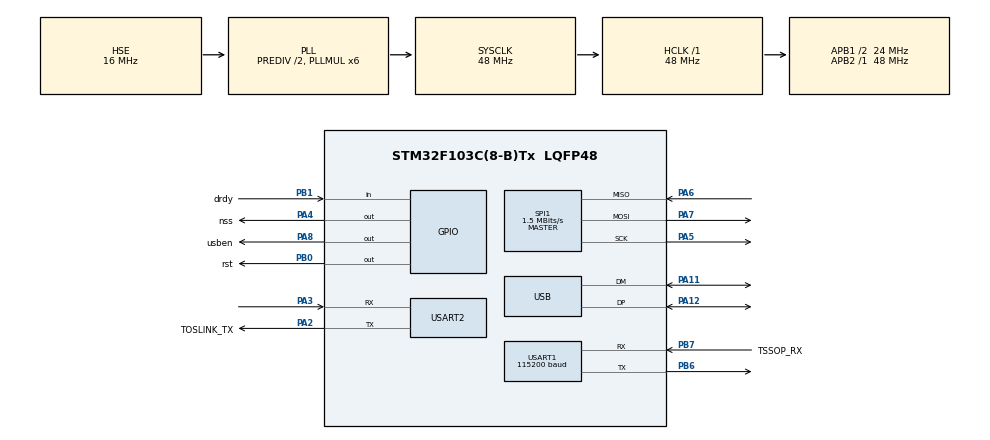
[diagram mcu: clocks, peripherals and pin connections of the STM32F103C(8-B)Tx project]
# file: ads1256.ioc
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Mcu.Family=STM32F1
Mcu.Name=STM32F103C(8-B)Tx
Mcu.Package=LQFP48
NVIC.PriorityGroup=NVIC_PRIORITYGROUP_4
NVIC.USART1_IRQn=true\:0\:0\:false\:false\:true
NVIC.USB_LP_CAN1_RX0_IRQn=true\:0\:0\:false\:false\:true
PA11.Mode=Device
PA11.Signal=USB_DM
PA12.Mode=Device
PA12.Signal=USB_DP
PA2.GPIO_Label=TOSLINK_TX
PA2.Mode=IrDA
PA2.Signal=USART2_TX
PA3.Mode=IrDA
PA3.Signal=USART2_RX
PA4.GPIO_Label=nss
PA4.Signal=GPIO_Output
PA5.Mode=Full_Duplex_Master
PA5.Signal=SPI1_SCK
PA6.Mode=Full_Duplex_Master
PA6.Signal=SPI1_MISO
PA7.Mode=Full_Duplex_Master
PA7.Signal=SPI1_MOSI
PA8.GPIO_Label=usben
PA8.Signal=GPIO_Output
PB0.GPIO_Label=rst
PB0.Signal=GPIO_Output
PB1.GPIO_Label=drdy
PB1.GPIO_PuPd=GPIO_PULLUP
PB1.Signal=GPIO_Input
PB6.Mode=Asynchronous
PB6.Signal=USART1_TX
PB7.GPIO_Label=TSSOP_RX
PB7.Mode=Asynchronous
PB7.Signal=USART1_RX
PD0-OSC_IN.Mode=HSE-External-Oscillator
PD0-OSC_IN.Signal=RCC_OSC_IN
PD1-OSC_OUT.Mode=HSE-External-Oscillator
PD1-OSC_OUT.Signal=RCC_OSC_OUT
ProjectManager.HeapSize=0x200
ProjectManager.StackSize=0x400
ProjectManager.TargetToolchain=MDK-ARM V5
RCC.AHBFreq_Value=48000000
RCC.APB1CLKDivider=RCC_HCLK_DIV2
RCC.APB1Freq_Value=24000000
RCC.APB1TimFreq_Value=48000000
RCC.APB2Freq_Value=48000000
RCC.APB2TimFreq_Value=48000000
RCC.HCLKFreq_Value=48000000
RCC.HSEDivPLL=RCC_HSE_PREDIV_DIV2
RCC.HSE_VALUE=16000000
RCC.HSIState=RCC_HSI_ON
RCC.PLLMUL=RCC_PLL_MUL6
RCC.PLLSourceVirtual=RCC_PLLSOURCE_HSE
RCC.SYSCLKFreq_VALUE=48000000
RCC.SYSCLKSource=RCC_SYSCLKSOURCE_PLLCLK
RCC.USBFreq_Value=48000000
SPI1.BaudRatePrescaler=SPI_BAUDRATEPRESCALER_32
SPI1.CLKPhase=SPI_PHASE_2EDGE
SPI1.CalculateBaudRate=1.5 MBits/s
SPI1.Mode=SPI_MODE_MASTER
USART1.BaudRate=115200
USART1.Mode=UART_MODE_RX
USART2.VirtualMode=VM_IRDA
USB_DEVICE.CLASS_NAME_FS=CDC
USB_DEVICE.USBD_HandleTypeDef=hUsbDeviceFS
USB_DEVICE.VirtualMode=Cdc
USB_DEVICE.VirtualModeFS=Cdc_FS
VP_USB_DEVICE_VS_USB_DEVICE_CDC_FS.Mode=CDC_FS
board=ads1256

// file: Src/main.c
/**
  ******************************************************************************
  * File Name          : main.c
  * Description        : Main program body
  ******************************************************************************
  *
  * COPYRIGHT(c) 2017 STMicroelectronics
  *
  * Redistribution and use in source and binary forms, with or without modification,
  * are permitted provided that the following conditions are met:
  *   1. Redistributions of source code must retain the above copyright notice,
  *      this list of conditions and the following disclaimer.
  *   2. Redistributions in binary form must reproduce the above copyright notice,
  *      this list of conditions and the following disclaimer in the documentation
  *      and/or other materials provided with the distribution.
  *   3. Neither the name of STMicroelectronics nor the names of its contributors
  *      may be used to endorse or promote products derived from this software
  *      without specific prior written permission.
  *
  * THIS SOFTWARE IS PROVIDED BY THE COPYRIGHT HOLDERS AND CONTRIBUTORS "AS IS"
  * AND ANY EXPRESS OR IMPLIED WARRANTIES, INCLUDING, BUT NOT LIMITED TO, THE
  * IMPLIED WARRANTIES OF MERCHANTABILITY AND FITNESS FOR A PARTICULAR PURPOSE ARE
  * DISCLAIMED. IN NO EVENT SHALL THE COPYRIGHT HOLDER OR CONTRIBUTORS BE LIABLE
  * FOR ANY DIRECT, INDIRECT, INCIDENTAL, SPECIAL, EXEMPLARY, OR CONSEQUENTIAL
  * DAMAGES (INCLUDING, BUT NOT LIMITED TO, PROCUREMENT OF SUBSTITUTE GOODS OR
  * SERVICES; LOSS OF USE, DATA, OR PROFITS; OR BUSINESS INTERRUPTION) HOWEVER
  * CAUSED AND ON ANY THEORY OF LIABILITY, WHETHER IN CONTRACT, STRICT LIABILITY,
  * OR TORT (INCLUDING NEGLIGENCE OR OTHERWISE) ARISING IN ANY WAY OUT OF THE USE
  * OF THIS SOFTWARE, EVEN IF ADVISED OF THE POSSIBILITY OF SUCH DAMAGE.
  *
  ******************************************************************************
  */
#include "stm32f1xx.h"
#include "usb_device.h"

/* USER CODE BEGIN Includes */
#include "usbd_cdc_if.h"
#include "ads1256.h"
#include "toslink.h"
#include "tssop.h"

/* USER CODE END Includes */

SPI_HandleTypeDef hspi1;

UART_HandleTypeDef huart1;
IRDA_HandleTypeDef hirda2;

/* USER CODE BEGIN PV */
/* Private variables ---------------------------------------------------------*/

/* USER CODE END PV */

void SystemClock_Config(void);
static void MX_GPIO_Init(void);
static void MX_SPI1_Init(void);
static void MX_USART1_UART_Init(void);
static void MX_USART2_IRDA_Init(void);

/* USER CODE BEGIN PFP */
/* Private function prototypes -----------------------------------------------*/

/* USER CODE END PFP */

/* USER CODE BEGIN 0 */

void HAL_UART_RxCpltCallback(UART_HandleTypeDef *huart)
{
if(huart->Instance == USART1){

}
}

		char buf[255];

		uint32_t Coder(uint32_t adc_val, uint8_t MARK){

			MARK &= 0xF7;
				volatile uint8_t HB = (adc_val&0x00FF0000)>>16;
				volatile uint8_t MB = (adc_val&0x0000FF00)>>8;
				volatile uint8_t LB = (adc_val&0x000000FF);

				volatile uint8_t HBs = HB&0x80;
				volatile uint8_t MBs= MB&0x80;
				volatile uint8_t LBs= LB&0x80;

				if(HBs) {MARK|= 0x04;HB = HB&0x7F;}
				if(MBs) {MARK|= 0x02;MB = MB&0x7F;}
				if(LBs) {MARK|= 0x01;LB = LB&0x7F;}
			volatile uint32_t tmp2 = (HB<<24)|(MB<<16)|(LB<<8)|(MARK);
				return tmp2;
		}
/* USER CODE END 0 */

int main(void)
{

  /* MCU Configuration----------------------------------------------------------*/

  /* Reset of all peripherals, Initializes the Flash interface and the Systick. */
  HAL_Init();

  /* Configure the system clock */
  SystemClock_Config();

  /* Initialize all configured peripherals */
  MX_GPIO_Init();
  MX_SPI1_Init();
  MX_USB_DEVICE_Init();
  MX_USART1_UART_Init();
  MX_USART2_IRDA_Init();

  /* USER CODE BEGIN 2 */

	HAL_Delay(100);
  HAL_GPIO_WritePin(usben_GPIO_Port, usben_Pin, GPIO_PIN_RESET);
	MX_USB_DEVICE_Init();
	HAL_Delay(500);

	ads1256_init(&hspi1);
	ads1256_init(&hspi1);

	toslink_init(&hirda2);

		while(drdy_tst() != GPIO_PIN_RESET){};
		//ads1256_wake_up();
		uint8_t reg[11];
		read_regs(0, reg, 11);
		for (int i = 0; i < 11;i++){
				sprintf(buf,"r%02X v%02X\r\n",i,reg[i]);
				//CDC_Transmit_FS((uint8_t*)buf,strlen(buf));
		}

volatile int32_t i = 0;
uint32_t code = 0;
  /* USER CODE END 2 */

  /* Infinite loop */
  while (1)
  {

  /* USER CODE BEGIN 3 */
			if(drdy_tst() == GPIO_PIN_RESET)
		{
		ads1256_wake_up();
		ads1256_cmd(ADS1256_RDATA);
		code =ads1256_read_data();
			i = code;
			uint32_t m = i&0x7FFFFF;
			if(i&0x800000) i = m-0x800000;
			else i = m;
			double u = (5000.0*i/((16777216/2)-1));
		uint32_t tmp = Coder(code, 0x80);

			toslink_transmit(tmp);
			//CDC_Transmit_FS((uint8_t*)&tmp,4);
		//HAL_Delay(100);

		//	sprintf(buf,"%08X %9.3f\r\n",code, u);
		//	CDC_Transmit_FS((uint8_t*)buf,strlen(buf));

		//HAL_Delay(100);
		}
		//HAL_Delay(10);

  }
  /* USER CODE END 3 */

}

/** System Clock Configuration
*/
void SystemClock_Config(void)
{

  RCC_OscInitTypeDef RCC_OscInitStruct;
  RCC_ClkInitTypeDef RCC_ClkInitStruct;
  RCC_PeriphCLKInitTypeDef PeriphClkInit;

  RCC_OscInitStruct.OscillatorType = RCC_OSCILLATORTYPE_HSE;
  RCC_OscInitStruct.HSEState = RCC_HSE_ON;
  RCC_OscInitStruct.HSEPredivValue = RCC_HSE_PREDIV_DIV2;
  RCC_OscInitStruct.PLL.PLLState = RCC_PLL_ON;
  RCC_OscInitStruct.PLL.PLLSource = RCC_PLLSOURCE_HSE;
  RCC_OscInitStruct.PLL.PLLMUL = RCC_PLL_MUL6;
  HAL_RCC_OscConfig(&RCC_OscInitStruct);

  RCC_ClkInitStruct.ClockType = RCC_CLOCKTYPE_HCLK|RCC_CLOCKTYPE_SYSCLK
                              |RCC_CLOCKTYPE_PCLK1|RCC_CLOCKTYPE_PCLK2;
  RCC_ClkInitStruct.SYSCLKSource = RCC_SYSCLKSOURCE_PLLCLK;
  RCC_ClkInitStruct.AHBCLKDivider = RCC_SYSCLK_DIV1;
  RCC_ClkInitStruct.APB1CLKDivider = RCC_HCLK_DIV2;
  RCC_ClkInitStruct.APB2CLKDivider = RCC_HCLK_DIV1;
  HAL_RCC_ClockConfig(&RCC_ClkInitStruct, FLASH_LATENCY_1);

  PeriphClkInit.PeriphClockSelection = RCC_PERIPHCLK_USB;
  PeriphClkInit.UsbClockSelection = RCC_USBCLKSOURCE_PLL;
  HAL_RCCEx_PeriphCLKConfig(&PeriphClkInit);

  HAL_SYSTICK_Config(HAL_RCC_GetHCLKFreq()/1000);

  HAL_SYSTICK_CLKSourceConfig(SYSTICK_CLKSOURCE_HCLK);

  /* SysTick_IRQn interrupt configuration */
  HAL_NVIC_SetPriority(SysTick_IRQn, 0, 0);
}

/* SPI1 init function */
void MX_SPI1_Init(void)
{

  hspi1.Instance = SPI1;
  hspi1.Init.Mode = SPI_MODE_MASTER;
  hspi1.Init.Direction = SPI_DIRECTION_2LINES;
  hspi1.Init.DataSize = SPI_DATASIZE_8BIT;
  hspi1.Init.CLKPolarity = SPI_POLARITY_LOW;
  hspi1.Init.CLKPhase = SPI_PHASE_2EDGE;
  hspi1.Init.NSS = SPI_NSS_SOFT;
  hspi1.Init.BaudRatePrescaler = SPI_BAUDRATEPRESCALER_64;
  hspi1.Init.FirstBit = SPI_FIRSTBIT_MSB;
  hspi1.Init.TIMode = SPI_TIMODE_DISABLE;
  hspi1.Init.CRCCalculation = SPI_CRCCALCULATION_DISABLE;
  hspi1.Init.CRCPolynomial = 10;
  HAL_SPI_Init(&hspi1);

}

/* USART1 init function */
void MX_USART1_UART_Init(void)
{

  huart1.Instance = USART1;
  huart1.Init.BaudRate = 115200;
  huart1.Init.WordLength = UART_WORDLENGTH_8B;
  huart1.Init.StopBits = UART_STOPBITS_1;
  huart1.Init.Parity = UART_PARITY_NONE;
  huart1.Init.Mode = UART_MODE_RX;
  huart1.Init.HwFlowCtl = UART_HWCONTROL_NONE;
  huart1.Init.OverSampling = UART_OVERSAMPLING_16;
  HAL_UART_Init(&huart1);

}

/* USART2 init function */
void MX_USART2_IRDA_Init(void)
{

  hirda2.Instance = USART2;
  hirda2.Init.BaudRate = 1000000;
  hirda2.Init.WordLength = IRDA_WORDLENGTH_8B;
  hirda2.Init.Parity = IRDA_PARITY_NONE;
  hirda2.Init.Mode = IRDA_MODE_TX;
  hirda2.Init.Prescaler = 1;
  hirda2.Init.IrDAMode = IRDA_POWERMODE_NORMAL;
  HAL_IRDA_Init(&hirda2);

}

/** Configure pins as
        * Analog
        * Input
        * Output
        * EVENT_OUT
        * EXTI
*/
void MX_GPIO_Init(void)
{

  GPIO_InitTypeDef GPIO_InitStruct;

  /* GPIO Ports Clock Enable */
  __HAL_RCC_GPIOD_CLK_ENABLE();
  __HAL_RCC_GPIOA_CLK_ENABLE();
  __HAL_RCC_GPIOB_CLK_ENABLE();

  /*Configure GPIO pin Output Level */
  HAL_GPIO_WritePin(GPIOA, nss_Pin|usben_Pin, GPIO_PIN_RESET);

  /*Configure GPIO pin Output Level */
  HAL_GPIO_WritePin(rst_GPIO_Port, rst_Pin, GPIO_PIN_RESET);

  /*Configure GPIO pins : nss_Pin usben_Pin */
  GPIO_InitStruct.Pin = nss_Pin|usben_Pin;
  GPIO_InitStruct.Mode = GPIO_MODE_OUTPUT_PP;
  GPIO_InitStruct.Speed = GPIO_SPEED_FREQ_LOW;
  HAL_GPIO_Init(GPIOA, &GPIO_InitStruct);

  /*Configure GPIO pin : rst_Pin */
  GPIO_InitStruct.Pin = rst_Pin;
  GPIO_InitStruct.Mode = GPIO_MODE_OUTPUT_PP;
  GPIO_InitStruct.Speed = GPIO_SPEED_FREQ_LOW;
  HAL_GPIO_Init(rst_GPIO_Port, &GPIO_InitStruct);

  /*Configure GPIO pin : drdy_Pin */
  GPIO_InitStruct.Pin = drdy_Pin;
  GPIO_InitStruct.Mode = GPIO_MODE_INPUT;
  GPIO_InitStruct.Pull = GPIO_PULLUP;
  HAL_GPIO_Init(drdy_GPIO_Port, &GPIO_InitStruct);

}

/************************ (C) COPYRIGHT STMicroelectronics *****END OF FILE****/
